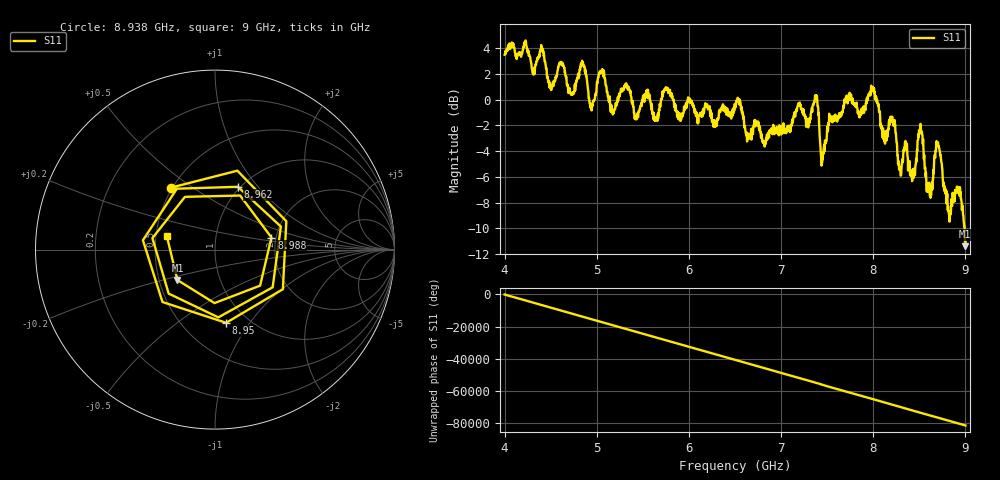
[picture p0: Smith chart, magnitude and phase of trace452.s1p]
! Created with skrf 1.8.0 (http://scikit-rf.org).
# Hz S RI R 50.0
!freq ReS11 ImS11
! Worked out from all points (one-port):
!   1601 points, 4 GHz to 9 GHz, reference 50 ohm
!   lowest |S11| = -11.4 dB at 8.997 GHz (marker M1), VSWR 1.74, Z = 31.1 - j11.4 ohm
!   |S11| at or under -10 dB: 8.991663 GHz to end of sweep
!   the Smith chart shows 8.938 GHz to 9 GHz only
!   S11 on the Smith chart (normalised r, x): 8.938 GHz: 0.49, +0.41; 8.95 GHz: 0.79, -0.78; 8.962 GHz: 0.98, +0.79; 8.988 GHz: 1.89, +0.28; 9 GHz: 0.57, +0.10
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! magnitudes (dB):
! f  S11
! 4 GHz  3.5
! 4.625 GHz  2.7
! 4.938 GHz  -0.6
! 5.053 GHz  2.1
! 5.25 GHz  0.3
! 5.875 GHz  -1.2
! 6.5 GHz  -0.5
! 6.819 GHz  -3.6
! 7.125 GHz  -1.5
! 7.378 GHz  0.3
! 7.45 GHz  -4.7
! 7.75 GHz  0.4
! 7.991 GHz  1.0
! 8.122 GHz  -2.7
! 8.216 GHz  -1.6
! 8.288 GHz  -5.3
! 8.375 GHz  -4.5
! 8.431 GHz  -5.7
! 8.516 GHz  -2.2
! 8.603 GHz  -7.2
! 8.7 GHz  -3.4
! 8.819 GHz  -8.8
! 8.938 GHz  -7.5
! 8.95 GHz  -7.7
! 8.962 GHz  -8.6
! 8.988 GHz  -9.9
! 8.997 GHz  -11.4
! 9 GHz  -11.0
